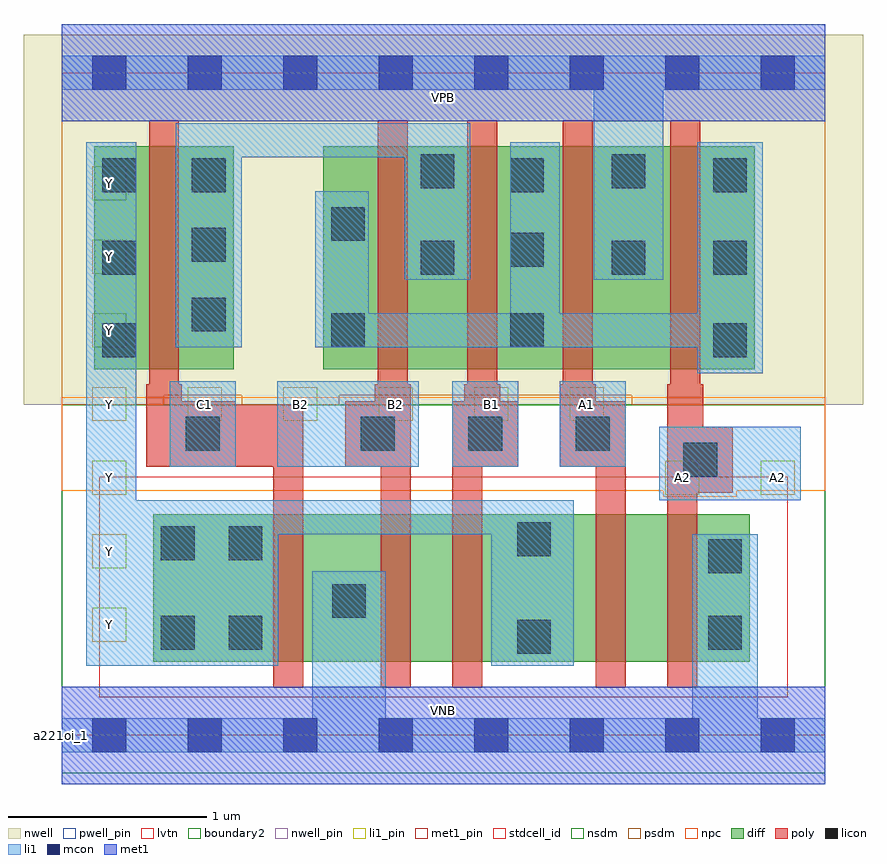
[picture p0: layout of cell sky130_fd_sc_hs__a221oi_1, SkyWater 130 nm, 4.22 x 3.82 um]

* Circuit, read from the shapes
.subckt sky130_fd_sc_hs__a221oi_1 A1 A2 B1 B2 C1 VGND VNB VPB VPWR Y
XM1 VGND C1 Y VNB sky130_fd_pr__nfet_01v8_lvt w=0.74 l=0.15
XM2 n1 B2 VGND VNB sky130_fd_pr__nfet_01v8_lvt w=0.74 l=0.15
XM3 Y B1 n1 VNB sky130_fd_pr__nfet_01v8_lvt w=0.74 l=0.15
XM4 n2 A1 Y VNB sky130_fd_pr__nfet_01v8_lvt w=0.74 l=0.15
XM5 VGND A2 n2 VNB sky130_fd_pr__nfet_01v8_lvt w=0.74 l=0.15
XM6 n3 C1 Y VPB sky130_fd_pr__pfet_01v8 w=1.12 l=0.15
XM7 n3 B2 n4 VPB sky130_fd_pr__pfet_01v8 w=1.12 l=0.15
XM8 n4 B1 n3 VPB sky130_fd_pr__pfet_01v8 w=1.12 l=0.15
XM9 VPWR A1 n4 VPB sky130_fd_pr__pfet_01v8 w=1.12 l=0.15
XM10 n4 A2 VPWR VPB sky130_fd_pr__pfet_01v8 w=1.12 l=0.15
.ends

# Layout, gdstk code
import gdstk
lib = gdstk.Library(unit=1e-6, precision=1e-09)
def R(c, l, rs):  # rectangles x0, y0, x1, y1
    for r in rs: c.add(gdstk.rectangle(r[:2], r[2:], *l))
def A(c, l, x, y, w, h, nx, ny, dx, dy):  # array of equal rectangles
    R(c, l, [(x+i*dx, y+j*dy, x+i*dx+w, y+j*dy+h) for i in range(nx) for j in range(ny)])
def P(c, l, *ps):  # polygons
    for p in ps: c.add(gdstk.Polygon(p, *l))
nwell_pin = (64, 16)
nwell = (64, 20)
diff = (65, 20)
poly = (66, 20)
licon = (66, 44)
li1_pin = (67, 16)
li1 = (67, 20)
mcon = (67, 44)
met1_pin = (68, 16)
met1 = (68, 20)
stdcell_id = (81, 4)
nsdm = (93, 44)
psdm = (94, 20)
npc = (95, 20)
pwell_pin = (122, 16)
lvtn = (125, 44)
boundary2 = (236, 0)

sky130_fd_sc_hs__a221oi_ = lib.new_cell('sky130_fd_sc_hs__a221oi_1')
R(sky130_fd_sc_hs__a221oi_, nwell_pin, [(0,3.085,3.84,3.33)])
R(sky130_fd_sc_hs__a221oi_, nwell, [(-0.19,1.66,4.03,3.52)])
R(sky130_fd_sc_hs__a221oi_, diff, [(0.46,0.37,3.46,1.11), (0.165,1.84,0.865,2.96), (1.315,1.84,3.485,2.96)])
P(sky130_fd_sc_hs__a221oi_, poly, [(2.295,1.68),(2.205,1.68),(2.205,1.765),(2.19,1.765),(2.19,3.09),(2.04,3.09),(2.04,1.765),(2.025,1.765),(2.025,1.68),(1.965,1.68),(1.965,0.24),(2.115,0.24),(2.115,1.35),(2.295,1.35)],
  [(1.755,1.765),(1.74,1.765),(1.74,3.09),(1.59,3.09),(1.59,1.765),(1.575,1.765),(1.575,1.68),(1.425,1.68),(1.425,1.35),(1.605,1.35),(1.605,0.24),(1.755,0.24)],
  [(1.215,1.66),(0.875,1.66),(0.875,1.68),(0.605,1.68),(0.605,1.765),(0.59,1.765),(0.59,3.09),(0.44,3.09),(0.44,1.765),(0.425,1.765),(0.425,1.35),(1.065,1.35),(1.065,0.24),(1.215,0.24)],
  [(2.835,1.68),(2.685,1.68),(2.685,1.765),(2.67,1.765),(2.67,3.09),(2.52,3.09),(2.52,1.765),(2.505,1.765),(2.505,1.35),(2.685,1.35),(2.685,0.24),(2.835,0.24)],
  [(3.375,1.55),(3.225,1.55),(3.225,1.765),(3.21,1.765),(3.21,3.09),(3.06,3.09),(3.06,1.765),(3.045,1.765),(3.045,0.24),(3.195,0.24),(3.195,1.22),(3.375,1.22)])
A(sky130_fd_sc_hs__a221oi_, licon, 1.505, 1.43, 0.17, 0.17, 3, 1, 0.54, 0)
A(sky130_fd_sc_hs__a221oi_, licon, 0.205, 1.9, 0.17, 0.17, 1, 3, 0, 0.415)
A(sky130_fd_sc_hs__a221oi_, licon, 3.275, 1.9, 0.17, 0.17, 1, 3, 0, 0.415)
A(sky130_fd_sc_hs__a221oi_, licon, 0.655, 2.03, 0.17, 0.17, 1, 3, 0, 0.35)
R(sky130_fd_sc_hs__a221oi_, licon, [(2.29,0.41,2.46,0.58), (0.5,0.43,0.67,0.6), (0.84,0.43,1.01,0.6), (3.25,0.43,3.42,0.6), (1.36,0.59,1.53,0.76), (3.25,0.815,3.42,0.985), (0.5,0.88,0.67,1.05), (0.84,0.88,1.01,1.05), (2.29,0.9,2.46,1.07), (3.125,1.3,3.295,1.47), (0.625,1.43,0.795,1.6), (1.355,1.95,1.525,2.12), (2.255,1.95,2.425,2.12), (1.805,2.315,1.975,2.485), (2.765,2.315,2.935,2.485), (2.255,2.355,2.425,2.525), (1.355,2.485,1.525,2.655), (2.255,2.73,2.425,2.9), (1.805,2.75,1.975,2.92), (2.765,2.75,2.935,2.92)])
A(sky130_fd_sc_hs__a221oi_, li1_pin, 0.155, 0.47, 0.17, 0.17, 1, 3, 0, 0.37)
A(sky130_fd_sc_hs__a221oi_, li1_pin, 0.155, 1.58, 0.17, 0.17, 6, 1, 0.48, 0)
A(sky130_fd_sc_hs__a221oi_, li1_pin, 0.155, 1.95, 0.17, 0.17, 1, 3, 0, 0.37)
R(sky130_fd_sc_hs__a221oi_, li1_pin, [(3.035,1.21,3.205,1.38), (3.515,1.21,3.685,1.38)])
R(sky130_fd_sc_hs__a221oi_, li1, [(3.005,1.18,3.715,1.55), (0.545,1.35,0.875,1.78), (1.085,1.35,1.795,1.78), (1.965,1.35,2.295,1.78), (2.505,1.35,2.835,1.78)])
P(sky130_fd_sc_hs__a221oi_, li1, [(2.675,2.29),(2.675,3.245),(0,3.245),(0,3.415),(3.84,3.415),(3.84,3.245),(3.025,3.245),(3.025,2.29)],
  [(3.17,0.085),(3.17,1.01),(3.5,1.01),(3.5,0.085),(3.84,0.085),(3.84,-0.085),(0,-0.085),(0,0.085),(1.26,0.085),(1.26,0.825),(1.63,0.825),(1.63,0.085)],
  [(0.125,2.98),(0.375,2.98),(0.375,1.18),(2.575,1.18),(2.575,0.35),(2.16,0.35),(2.16,1.01),(1.09,1.01),(1.09,0.35),(0.125,0.35)],
  [(2.055,3.075),(0.575,3.075),(0.575,1.95),(0.905,1.95),(0.905,2.905),(1.725,2.905),(1.725,2.29),(2.055,2.29)],
  [(3.525,2.98),(3.195,2.98),(3.195,2.12),(2.505,2.12),(2.505,2.98),(2.255,2.98),(2.255,2.12),(1.545,2.12),(1.545,2.735),(1.275,2.735),(1.275,1.95),(3.195,1.95),(3.195,1.82),(3.525,1.82)])
A(sky130_fd_sc_hs__a221oi_, mcon, 0.155, -0.085, 0.17, 0.17, 8, 2, 0.48, 3.33)
R(sky130_fd_sc_hs__a221oi_, met1_pin, [(0,0,3.84,0.245), (0,3.085,3.84,3.33)])
R(sky130_fd_sc_hs__a221oi_, met1, [(0,-0.245,3.84,0.245), (0,3.085,3.84,3.575)])
R(sky130_fd_sc_hs__a221oi_, stdcell_id, [(0,0,3.84,3.33)])
R(sky130_fd_sc_hs__a221oi_, nsdm, [(0,-0.19,3.84,1.66)])
P(sky130_fd_sc_hs__a221oi_, psdm, [(3.84,3.52),(0,3.52),(0,1.66),(0.515,1.66),(0.515,1.71),(0.905,1.71),(0.905,1.66),(1.395,1.66),(1.395,1.71),(2.865,1.71),(2.865,1.66),(3.84,1.66)])
P(sky130_fd_sc_hs__a221oi_, npc, [(3.84,1.7),(0,1.7),(0,1.23),(3.025,1.23),(3.025,1.2),(3.395,1.2),(3.395,1.23),(3.84,1.23)])
R(sky130_fd_sc_hs__a221oi_, pwell_pin, [(0,0,3.84,0.245)])
R(sky130_fd_sc_hs__a221oi_, lvtn, [(0.19,0.19,3.65,1.3)])
R(sky130_fd_sc_hs__a221oi_, boundary2, [(0,0,3.84,3.33)])
sky130_fd_sc_hs__a221oi_.add(gdstk.Label('a221oi_1', (0,0), layer=83, texttype=44))
sky130_fd_sc_hs__a221oi_.add(gdstk.Label('VNB', (1.92,0.123), layer=64, texttype=59))
sky130_fd_sc_hs__a221oi_.add(gdstk.Label('VPB', (1.92,3.208), layer=64, texttype=5))
sky130_fd_sc_hs__a221oi_.add(gdstk.Label('VPWR', (1.92,3.208), layer=68, texttype=5))
sky130_fd_sc_hs__a221oi_.add(gdstk.Label('VGND', (1.92,0.123), layer=68, texttype=5))
sky130_fd_sc_hs__a221oi_.add(gdstk.Label('C1', (0.72,1.665), layer=67, texttype=5))
sky130_fd_sc_hs__a221oi_.add(gdstk.Label('Y', (0.24,0.555), layer=67, texttype=5))
sky130_fd_sc_hs__a221oi_.add(gdstk.Label('Y', (0.24,0.925), layer=67, texttype=5))
sky130_fd_sc_hs__a221oi_.add(gdstk.Label('Y', (0.24,1.295), layer=67, texttype=5))
sky130_fd_sc_hs__a221oi_.add(gdstk.Label('Y', (0.24,1.665), layer=67, texttype=5))
sky130_fd_sc_hs__a221oi_.add(gdstk.Label('Y', (0.24,2.035), layer=67, texttype=5))
sky130_fd_sc_hs__a221oi_.add(gdstk.Label('Y', (0.24,2.405), layer=67, texttype=5))
sky130_fd_sc_hs__a221oi_.add(gdstk.Label('Y', (0.24,2.775), layer=67, texttype=5))
sky130_fd_sc_hs__a221oi_.add(gdstk.Label('B2', (1.2,1.665), layer=67, texttype=5))
sky130_fd_sc_hs__a221oi_.add(gdstk.Label('B2', (1.68,1.665), layer=67, texttype=5))
sky130_fd_sc_hs__a221oi_.add(gdstk.Label('B1', (2.16,1.665), layer=67, texttype=5))
sky130_fd_sc_hs__a221oi_.add(gdstk.Label('A1', (2.64,1.665), layer=67, texttype=5))
sky130_fd_sc_hs__a221oi_.add(gdstk.Label('A2', (3.12,1.295), layer=67, texttype=5))
sky130_fd_sc_hs__a221oi_.add(gdstk.Label('A2', (3.6,1.295), layer=67, texttype=5))

lib.write_gds('sky130_fd_sc_hs__a221oi_1.gds')
